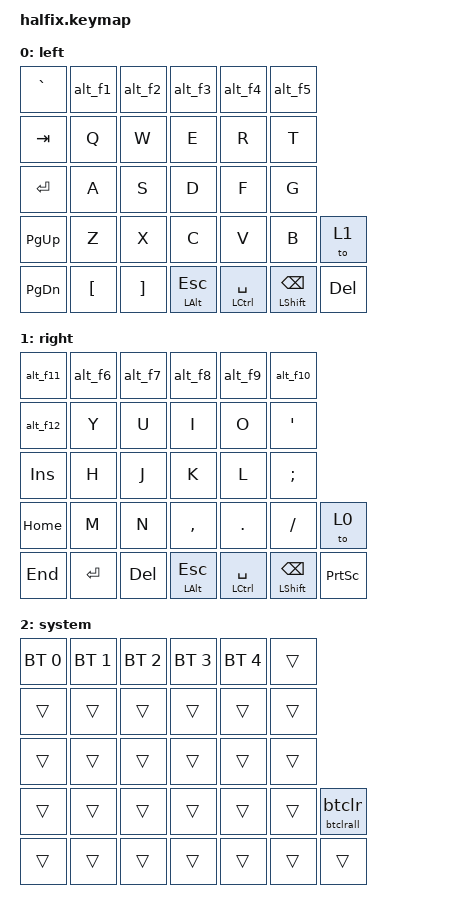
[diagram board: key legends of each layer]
/*
 * Copyright (c) 2020 The ZMK Contributors
 *
 * SPDX-License-Identifier: MIT
 */

#include <behaviors.dtsi>
#include <dt-bindings/zmk/keys.h>
#include <dt-bindings/zmk/bt.h>
#include <dt-bindings/zmk/rgb.h>
#include <dt-bindings/zmk/ext_power.h>
#include <dt-bindings/zmk/outputs.h>

/*
 * Shared by both standalone shields. Each physical layout lists its inner extra keys last in
 * rows 3 and 4, so binding positions are the same on either half:
 *   halfix           extra keys in the right-most column (left PCB)
 *   halfix_mirrored  extra keys in the left-most column (right PCB)
 */

&lt {
    tapping-term-ms = <220>;
    quick-tap-ms = <220>;
    flavor = "tap-preferred";
    require-prior-idle-ms = <150>;
};

&mt {
    tapping-term-ms = <220>;
    quick-tap-ms = <220>;
    flavor = "tap-preferred";
    require-prior-idle-ms = <150>;
};

&sk {
    release-after-ms = <900>;
    quick-release;
};

&sl { 
	ignore-modifiers;
	release-after-ms = <2000>;
};

/ {
    behaviors {
        btclr_ht: bluetooth_clear_hold_tap {
            compatible = "zmk,behavior-hold-tap";
            display-name = "Bluetooth Clear Hold-Tap";
            bindings = <&btclrall>, <&btclr>;

            #binding-cells = <2>;
            tapping-term-ms = <5000>;
            flavor = "tap-preferred";
        };

        alt_f1: alt_f1 {
            display-name = "N1-F1";
            compatible = "zmk,behavior-mod-morph";
            #binding-cells = <0>;
            bindings = <&kp N1>, <&kp F1>;

            mods = <(MOD_LALT|MOD_RALT)>;
        };

        alt_f2: alt_f2 {
            display-name = "N2-F2";
            compatible = "zmk,behavior-mod-morph";
            #binding-cells = <0>;
            bindings = <&kp N2>, <&kp F2>;

            mods = <(MOD_LALT|MOD_RALT)>;
        };

        alt_f3: alt_f3 {
            display-name = "N3-F3";
            compatible = "zmk,behavior-mod-morph";
            #binding-cells = <0>;
            bindings = <&kp N3>, <&kp F3>;

            mods = <(MOD_LALT|MOD_RALT)>;
        };

        alt_f4: alt_f4 {
            display-name = "N4-F4";
            compatible = "zmk,behavior-mod-morph";
            #binding-cells = <0>;
            bindings = <&kp N4>, <&kp F4>;

            mods = <(MOD_LALT|MOD_RALT)>;
        };

        alt_f5: alt_f5 {
            display-name = "N5-F5";
            compatible = "zmk,behavior-mod-morph";
            #binding-cells = <0>;
            bindings = <&kp N5>, <&kp F5>;

            mods = <(MOD_LALT|MOD_RALT)>;
        };

        alt_f6: alt_f6 {
            display-name = "N6-F6";
            compatible = "zmk,behavior-mod-morph";
            #binding-cells = <0>;
            bindings = <&kp N6>, <&kp F6>;

            mods = <(MOD_LALT|MOD_RALT)>;
        };

        alt_f7: alt_f7 {
            display-name = "N7-F7";
            compatible = "zmk,behavior-mod-morph";
            #binding-cells = <0>;
            bindings = <&kp N7>, <&kp F7>;

            mods = <(MOD_LALT|MOD_RALT)>;
        };

        alt_f8: alt_f8 {
            display-name = "N8-F8";
            compatible = "zmk,behavior-mod-morph";
            #binding-cells = <0>;
            bindings = <&kp N8>, <&kp F8>;

            mods = <(MOD_LALT|MOD_RALT)>;
        };

        alt_f9: alt_f9 {
            display-name = "N9-F9";
            compatible = "zmk,behavior-mod-morph";
            #binding-cells = <0>;
            bindings = <&kp N9>, <&kp F9>;

            mods = <(MOD_LALT|MOD_RALT)>;
        };

        alt_f10: alt_f10 {
            display-name = "N0-F10";
            compatible = "zmk,behavior-mod-morph";
            #binding-cells = <0>;
            bindings = <&kp N0>, <&kp F10>;

            mods = <(MOD_LALT|MOD_RALT)>;
        };

        alt_f11: alt_f11 {
            display-name = "MINUS-F11";
            compatible = "zmk,behavior-mod-morph";
            #binding-cells = <0>;
            bindings = <&kp MINUS>, <&kp F11>;

            mods = <(MOD_LALT|MOD_RALT)>;
        };

        alt_f12: alt_f12 {
            display-name = "EQUAL-F12";
            compatible = "zmk,behavior-mod-morph";
            #binding-cells = <0>;
            bindings = <&kp EQUAL>, <&kp F12>;

            mods = <(MOD_LALT|MOD_RALT)>;
        };
	};

    macros {
        btclr: bluetooth_clear {
            compatible = "zmk,behavior-macro";
            #binding-cells = <0>;
            bindings = <&macro_tap>, <&bt BT_CLR>;
        };

        btclrall: bluetooth_clear_all {
            compatible = "zmk,behavior-macro";
            #binding-cells = <0>;
            bindings = <&macro_tap>, <&bt BT_CLR_ALL>;
        };
    };

    combos {
        compatible = "zmk,combos";

        to_sys {
            bindings = <&sl 2>;
            key-positions = <3 4 5>;
			require-prior-idle-ms = <200>;
        };
	};

	keymap {
        compatible = "zmk,keymap";

		left: left {
			display-name = "left";
			bindings = <
&kp GRAVE    &alt_f1    &alt_f2   &alt_f3       &alt_f4          &alt_f5
&kp TAB      &kp Q      &kp W     &kp E         &kp R            &kp T
&kp ENTER    &kp A      &kp S     &kp D         &kp F            &kp G
&kp PG_UP    &kp Z      &kp X     &kp C         &kp V            &kp B		     &to 1
&kp PG_DN    &kp LBKT   &kp RBKT  &mt LALT ESC  &mt LCTRL SPACE  &mt LSHFT BSPC  &kp DEL
            >;
        };

        right: right {
			display-name = "right";
            bindings = <
&alt_f11   &alt_f6    &alt_f7  &alt_f8       &alt_f9          &alt_f10
&alt_f12   &kp Y      &kp U    &kp I         &kp O            &kp SQT
&kp INS    &kp H      &kp J    &kp K         &kp L            &kp SEMI
&kp HOME   &kp M      &kp N    &kp COMMA     &kp DOT          &kp FSLH		  &to 0
&kp END    &kp ENTER  &kp DEL  &mt LALT ESC  &mt LCTRL SPACE  &mt LSHFT BSPC  &kp PSCRN
            >;
        };

        sys: sys {
			display-name = "system";
            bindings = <
&bt BT_SEL 0  &bt BT_SEL 1  &bt BT_SEL 2  &bt BT_SEL 3  &bt BT_SEL 4  &trans
&trans        &trans        &trans        &trans        &trans        &trans
&trans        &trans        &trans        &trans        &trans        &trans
&trans        &trans        &trans        &trans        &trans        &trans  &btclr_ht 0 0
&trans        &trans        &trans        &trans        &trans        &trans  &trans
            >;
        };
	};

};
